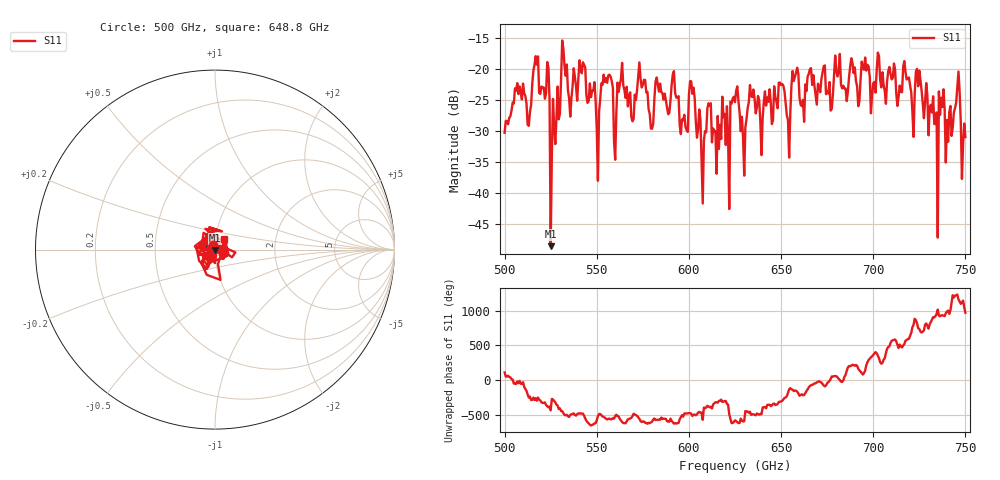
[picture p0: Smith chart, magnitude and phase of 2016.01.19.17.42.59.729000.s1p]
!Created with skrf (http://scikit-rf.org).
# GHz S RI R 50.0
!freq ReS11 ImS11
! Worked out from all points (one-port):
!   401 points, 500 GHz to 750 GHz, reference 50 ohm
!   lowest |S11| = -48.6 dB at 525 GHz (marker M1), VSWR 1.01, Z = 50.1 - j0.346 ohm
!   |S11| at or under -10 dB: start of sweep to end of sweep
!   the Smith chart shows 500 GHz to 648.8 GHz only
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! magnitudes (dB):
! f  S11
! 500 GHz  -30.3
! 506.9 GHz  -22.2
! 513.1 GHz  -29.1
! 516.9 GHz  -17.9
! 523.1 GHz  -18.8
! 525 GHz  -48.6
! 526.2 GHz  -24.8
! 531.2 GHz  -15.3
! 542.5 GHz  -18.9
! 550.6 GHz  -38.0
! 553.8 GHz  -20.9
! 562.5 GHz  -22.5
! 593.8 GHz  -24.6
! 601.9 GHz  -24.0
! 608.1 GHz  -31.5
! 610.6 GHz  -25.5
! 620.6 GHz  -26.0
! 625 GHz  -25.3
! 629.4 GHz  -31.1
! 633.8 GHz  -24.3
! 650 GHz  -22.5
! 653.8 GHz  -28.2
! 656.2 GHz  -20.3
! 687.5 GHz  -19.5
! 718.8 GHz  -21.5
! 733.8 GHz  -28.9
! 745.6 GHz  -22.8
! 750 GHz  -31.0
